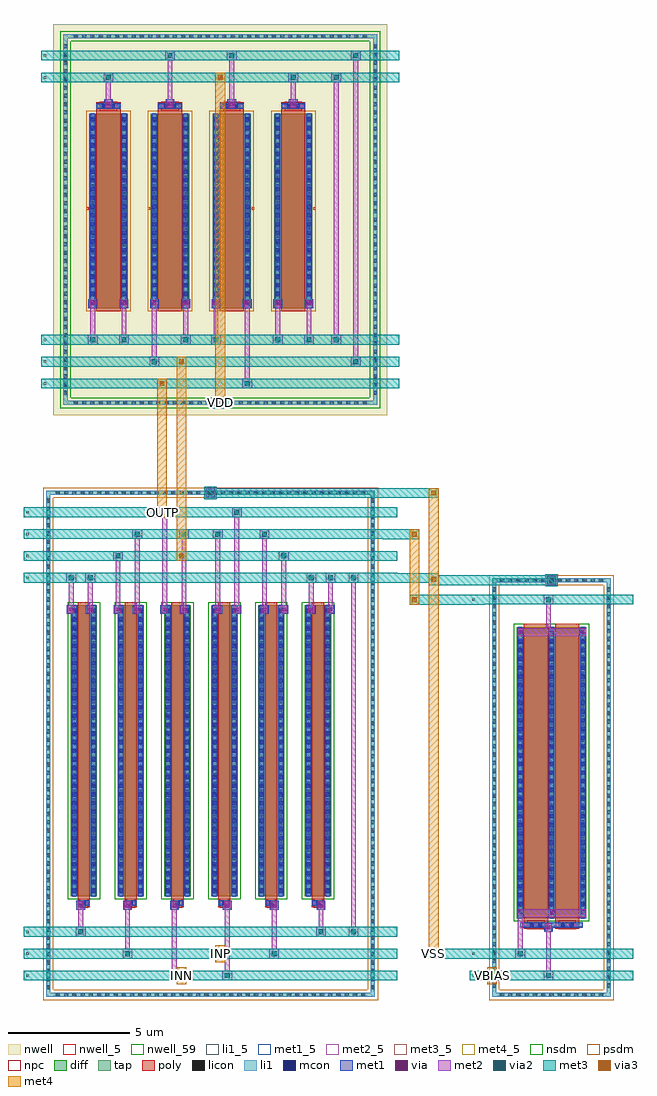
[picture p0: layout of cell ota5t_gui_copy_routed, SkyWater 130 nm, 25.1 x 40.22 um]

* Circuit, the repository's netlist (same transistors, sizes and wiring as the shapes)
* Extracted by KLayout with SKY130 LVS runset on : 04/11/2026 17:20

.SUBCKT ota5t_gui_copy_routed INN INP OUTP VBIAS VDD VSS sky130_gnd
M$1 VDD VDD VDD VDD sky130_fd_pr__pfet_01v8 L=1 W=8 AS=2.32 AD=2.32 PS=16.58
+ PD=16.58
M$2 VDD VDD VDD VDD sky130_fd_pr__pfet_01v8 L=1 W=8 AS=2.32 AD=2.32 PS=16.58
+ PD=16.58
M$3 OUTP \$5 VDD VDD sky130_fd_pr__pfet_01v8 L=1 W=8 AS=2.32 AD=2.32 PS=16.58
+ PD=16.58
M$4 \$5 \$5 VDD VDD sky130_fd_pr__pfet_01v8 L=1 W=8 AS=2.32 AD=2.32 PS=16.58
+ PD=16.58
M$5 OUTP INN \$9 sky130_gnd sky130_fd_pr__nfet_01v8 L=0.5 W=12 AS=3.48 AD=3.48
+ PS=24.58 PD=24.58
M$6 OUTP INN \$9 sky130_gnd sky130_fd_pr__nfet_01v8 L=0.5 W=12 AS=3.48 AD=3.48
+ PS=24.58 PD=24.58
M$7 \$5 INP \$9 sky130_gnd sky130_fd_pr__nfet_01v8 L=0.5 W=12 AS=3.48 AD=3.48
+ PS=24.58 PD=24.58
M$8 \$5 INP \$9 sky130_gnd sky130_fd_pr__nfet_01v8 L=0.5 W=12 AS=3.48 AD=3.48
+ PS=24.58 PD=24.58
M$9 VSS VSS VSS sky130_gnd sky130_fd_pr__nfet_01v8 L=0.5 W=12 AS=3.48 AD=3.48
+ PS=24.58 PD=24.58
M$10 VSS VSS VSS sky130_gnd sky130_fd_pr__nfet_01v8 L=0.5 W=12 AS=3.48 AD=3.48
+ PS=24.58 PD=24.58
M$11 \$9 VBIAS VSS sky130_gnd sky130_fd_pr__nfet_01v8 L=1 W=12 AS=3.48 AD=1.74
+ PS=24.58 PD=12.29
M$12 VSS VBIAS \$9 sky130_gnd sky130_fd_pr__nfet_01v8 L=1 W=12 AS=1.74 AD=3.48
+ PS=12.29 PD=24.58
.ENDS ota5t_gui_copy_routed

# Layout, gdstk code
from math import pi, radians
import gdstk
lib = gdstk.Library(unit=1e-6, precision=1e-09)
def R(c, l, rs):  # rectangles x0, y0, x1, y1
    for r in rs: c.add(gdstk.rectangle(r[:2], r[2:], *l))
def A(c, l, x, y, w, h, nx, ny, dx, dy):  # array of equal rectangles
    R(c, l, [(x+i*dx, y+j*dy, x+i*dx+w, y+j*dy+h) for i in range(nx) for j in range(ny)])
nwell_5 = (64, 5)
nwell = (64, 20)
nwell_59 = (64, 59)
diff = (65, 20)
tap = (65, 44)
poly = (66, 20)
licon = (66, 44)
li1_5 = (67, 5)
li1 = (67, 20)
mcon = (67, 44)
met1_5 = (68, 5)
met1 = (68, 20)
via = (68, 44)
met2_5 = (69, 5)
met2 = (69, 20)
via2 = (69, 44)
met3_5 = (70, 5)
met3 = (70, 20)
via3 = (70, 44)
met4_5 = (71, 5)
met4 = (71, 20)
nsdm = (93, 44)
psdm = (94, 20)
npc = (95, 20)

sky130_fd_pr__nfet_01v8_ = lib.new_cell('sky130_fd_pr__nfet_01v8_9RJRPW')
R(sky130_fd_pr__nfet_01v8_, diff, [(-1.435,-6.155,1.435,5.845)])
R(sky130_fd_pr__nfet_01v8_, poly, [(-1.145,-6.285,-0.145,6.285), (0.145,-6.285,1.145,6.285)])
A(sky130_fd_pr__nfet_01v8_, licon, -1.375, -6.02, 0.17, 0.17, 3, 35, 1.29, 0.34)
R(sky130_fd_pr__nfet_01v8_, licon, [(-0.9,6.035,-0.73,6.205), (-0.56,6.035,-0.39,6.205), (0.39,6.035,0.56,6.205), (0.73,6.035,0.9,6.205)])
A(sky130_fd_pr__nfet_01v8_, li1, -1.375, -6.175, 0.17, 12.04, 3, 1, 1.29, 0)
R(sky130_fd_pr__nfet_01v8_, li1, [(-1.29,6.035,1.29,6.205)])
A(sky130_fd_pr__nfet_01v8_, mcon, -1.375, -6, 0.17, 0.17, 3, 33, 1.29, 0.36)
R(sky130_fd_pr__nfet_01v8_, mcon, [(-0.91,6.035,-0.74,6.205), (-0.55,6.035,-0.38,6.205), (0.38,6.035,0.55,6.205), (0.74,6.035,0.91,6.205)])
A(sky130_fd_pr__nfet_01v8_, met1, -1.405, -6.155, 0.23, 12, 3, 1, 1.29, 0)
R(sky130_fd_pr__nfet_01v8_, met1, [(-1.125,6.005,-0.165,6.035), (0.165,6.005,1.125,6.035), (-1.29,6.035,1.29,6.205), (-1.125,6.205,-0.165,6.235), (0.165,6.205,1.125,6.235)])
R(sky130_fd_pr__nfet_01v8_, nsdm, [(-1.56,-6.28,1.56,5.97)])
R(sky130_fd_pr__nfet_01v8_, npc, [(-1,5.935,-0.29,6.305), (0.29,5.935,1,6.305)])
sky130_fd_pr__nfet_01v8_.add(gdstk.Label('D0', (-1.29,-0.155), layer=67, texttype=5))
sky130_fd_pr__nfet_01v8_.add(gdstk.Label('G', (0.645,6.12), layer=67, texttype=5))
sky130_fd_pr__nfet_01v8_.add(gdstk.Label('G', (-0.645,6.12), layer=67, texttype=5))
sky130_fd_pr__nfet_01v8_.add(gdstk.Label('S1', (0,-0.155), layer=67, texttype=5))

nfet_01v8_w24_l1_m1__nf2 = lib.new_cell('nfet_01v8_W24_L1_m1__nf2_gtop_sdfull_outD_ng')
R(nfet_01v8_w24_l1_m1__nf2, nwell_59, [(0.05,6.08,0.15,6.18)])
R(nfet_01v8_w24_l1_m1__nf2, met1_5, [(0.145,12.29,2.725,12.52)])
R(nfet_01v8_w24_l1_m1__nf2, met1, [(0.015,0.18,0.275,0.5), (2.595,0.18,2.855,0.5), (1.305,11.76,1.565,12.08), (0.145,12.29,2.725,12.52)])
R(nfet_01v8_w24_l1_m1__nf2, via, [(0.07,0.265,0.22,0.415), (2.65,0.265,2.8,0.415), (1.36,11.845,1.51,11.995)])
R(nfet_01v8_w24_l1_m1__nf2, met2_5, [(0.01,0.18,2.86,0.5), (0.01,11.76,2.86,12.08)])
R(nfet_01v8_w24_l1_m1__nf2, met2, [(0.01,0.18,2.86,0.5), (0.01,11.76,2.86,12.08)])
nfet_01v8_w24_l1_m1__nf2.add(gdstk.Reference(sky130_fd_pr__nfet_01v8_, (1.435,6.285)))
nfet_01v8_w24_l1_m1__nf2.add(gdstk.Label('S', (1.435,11.92), layer=69, texttype=5))
nfet_01v8_w24_l1_m1__nf2.add(gdstk.Label('D', (1.435,0.34), layer=69, texttype=5))
nfet_01v8_w24_l1_m1__nf2.add(gdstk.Label('G', (1.435,12.405), layer=68, texttype=5))
nfet_01v8_w24_l1_m1__nf2.add(gdstk.Label('B', (0.1,6.13), layer=64, texttype=59))

nmos_current_mirror_bias = lib.new_cell('nmos_current_mirror_bias__A')
R(nmos_current_mirror_bias, tap, [(-0.885,-1.885,4.005,-1.715), (-0.885,-1.715,-0.715,15.205), (3.835,-1.715,4.005,15.205), (-0.885,15.205,4.005,15.375)])
A(nmos_current_mirror_bias, licon, -0.565, -1.885, 0.17, 0.17, 13, 2, 0.34, 17.09)
A(nmos_current_mirror_bias, licon, -0.885, -1.5, 0.17, 0.17, 1, 49, 0, 0.34)
A(nmos_current_mirror_bias, licon, 3.835, -1.5, 0.17, 0.17, 1, 49, 0, 0.34)
R(nmos_current_mirror_bias, li1_5, [(1.51,-1.85,1.61,-1.75)])
R(nmos_current_mirror_bias, li1, [(-0.885,-1.885,4.005,-1.715), (-0.885,-1.715,-0.715,15.205), (3.835,-1.715,4.005,15.205), (-0.885,15.205,4.005,15.375)])
R(nmos_current_mirror_bias, met1, [(1.255,12.32,1.615,12.68)])
R(nmos_current_mirror_bias, via, [(1.36,12.425,1.51,12.575)])
R(nmos_current_mirror_bias, met2, [(1.235,-1.2,1.635,-0.8), (1.335,-0.8,1.535,0.28), (0.17,11.98,0.37,13.39), (1.305,12.34,1.565,12.66), (1.335,12.66,1.535,14.29), (0.07,13.39,0.47,13.79), (1.235,14.29,1.635,14.69)])
R(nmos_current_mirror_bias, via2, [(1.335,-1.1,1.535,-0.9), (0.17,13.49,0.37,13.69), (1.335,14.39,1.535,14.59)])
R(nmos_current_mirror_bias, met3_5, [(-1.7,-1.05,-1.6,-0.95), (-1.7,13.54,-1.6,13.64), (-1.7,14.44,-1.6,14.54)])
R(nmos_current_mirror_bias, met3, [(-1.8,-1.2,4.92,-0.8), (-1.8,13.39,4.92,13.79), (-1.8,14.29,4.92,14.69)])
R(nmos_current_mirror_bias, psdm, [(-1.01,-2.01,4.13,-1.59), (-1.01,-1.59,-0.59,15.08), (3.71,-1.59,4.13,15.08), (-1.01,15.08,4.13,15.5)])
nmos_current_mirror_bias.add(gdstk.Reference(nfet_01v8_w24_l1_m1__nf2, (0.13,0)))
nmos_current_mirror_bias.add(gdstk.Label('VSS', (-1.65,13.59), layer=70, texttype=5))
nmos_current_mirror_bias.add(gdstk.Label('net2', (-1.65,14.49), layer=70, texttype=5))
nmos_current_mirror_bias.add(gdstk.Label('net1', (-1.65,-1), layer=70, texttype=5))
nmos_current_mirror_bias.add(gdstk.Label('VSS_body', (1.56,-1.8), layer=67, texttype=5))

c_sky130_fd_pr__nfet_01v8_ = lib.new_cell('sky130_fd_pr__nfet_01v8_P7JZK5')
R(c_sky130_fd_pr__nfet_01v8_, diff, [(-0.54,-6.155,0.54,5.845)])
R(c_sky130_fd_pr__nfet_01v8_, poly, [(-0.25,-6.285,0.25,6.285)])
A(c_sky130_fd_pr__nfet_01v8_, licon, -0.48, -6.02, 0.17, 0.17, 1, 35, 0, 0.34)
A(c_sky130_fd_pr__nfet_01v8_, licon, 0.31, -6.02, 0.17, 0.17, 1, 35, 0, 0.34)
R(c_sky130_fd_pr__nfet_01v8_, licon, [(-0.085,6.035,0.085,6.205)])
R(c_sky130_fd_pr__nfet_01v8_, li1, [(-0.48,-6.175,-0.31,5.865), (0.31,-6.175,0.48,5.865), (-0.25,6.035,0.25,6.205)])
A(c_sky130_fd_pr__nfet_01v8_, mcon, -0.48, -6, 0.17, 0.17, 1, 33, 0, 0.36)
A(c_sky130_fd_pr__nfet_01v8_, mcon, 0.31, -6, 0.17, 0.17, 1, 33, 0, 0.36)
R(c_sky130_fd_pr__nfet_01v8_, mcon, [(-0.085,6.035,0.085,6.205)])
R(c_sky130_fd_pr__nfet_01v8_, met1, [(-0.51,-6.155,-0.28,5.845), (0.28,-6.155,0.51,5.845), (-0.23,6.005,0.23,6.235)])
R(c_sky130_fd_pr__nfet_01v8_, nsdm, [(-0.665,-6.28,0.665,5.97)])
R(c_sky130_fd_pr__nfet_01v8_, npc, [(-0.185,5.935,0.185,6.305)])
c_sky130_fd_pr__nfet_01v8_.add(gdstk.Label('D', (-0.395,-0.155), layer=67, texttype=5))
c_sky130_fd_pr__nfet_01v8_.add(gdstk.Label('S', (0.395,-0.155), layer=67, texttype=5))
c_sky130_fd_pr__nfet_01v8_.add(gdstk.Label('G', (0,6.12), layer=67, texttype=5))

nfet_01v8_w12_l0p5_m1__n = lib.new_cell('nfet_01v8_W12_L0p5_m1__nf1_gtop_sdfull_ng')
R(nfet_01v8_w12_l0p5_m1__n, nwell_59, [(0.05,6.08,0.15,6.18)])
R(nfet_01v8_w12_l0p5_m1__n, met1_5, [(0.03,6.13,0.26,6.33), (0.82,6.13,1.05,6.33), (0.31,12.29,0.77,12.52)])
R(nfet_01v8_w12_l0p5_m1__n, met1, [(0.03,6.13,0.26,6.33), (0.82,6.13,1.05,6.33), (0.31,12.29,0.77,12.52)])
nfet_01v8_w12_l0p5_m1__n.add(gdstk.Reference(c_sky130_fd_pr__nfet_01v8_, (0.54,6.285)))
nfet_01v8_w12_l0p5_m1__n.add(gdstk.Label('D', (0.145,6.23), layer=68, texttype=5))
nfet_01v8_w12_l0p5_m1__n.add(gdstk.Label('S', (0.935,6.23), layer=68, texttype=5))
nfet_01v8_w12_l0p5_m1__n.add(gdstk.Label('G', (0.54,12.405), layer=68, texttype=5))
nfet_01v8_w12_l0p5_m1__n.add(gdstk.Label('B', (0.1,6.13), layer=64, texttype=59))

nmos_differential_pair__ = lib.new_cell('nmos_differential_pair__ABBA')
R(nmos_differential_pair__, tap, [(-0.885,-4.585,12.665,-4.415), (-0.885,-4.415,-0.715,16.105), (12.495,-4.415,12.665,16.105), (-0.885,16.105,12.665,16.275)])
A(nmos_differential_pair__, licon, -0.485, -4.585, 0.17, 0.17, 38, 2, 0.34, 20.69)
A(nmos_differential_pair__, licon, -0.885, -4.27, 0.17, 0.17, 1, 60, 0, 0.34)
A(nmos_differential_pair__, licon, 12.495, -4.27, 0.17, 0.17, 1, 60, 0, 0.34)
R(nmos_differential_pair__, li1_5, [(5.84,-4.55,5.94,-4.45)])
R(nmos_differential_pair__, li1, [(-0.885,-4.585,12.665,-4.415), (-0.885,-4.415,-0.715,16.105), (12.495,-4.415,12.665,16.105), (-0.885,16.105,12.665,16.275)])
A(nmos_differential_pair__, met1, 0.36, 12.32, 0.36, 0.36, 3, 1, 1.93, 0)
A(nmos_differential_pair__, met1, 6.4, 12.32, 0.36, 0.36, 3, 1, 1.93, 0)
R(nmos_differential_pair__, met1, [(-0.035,0.13,0.325,0.49), (0.755,0.13,1.115,0.49), (1.895,0.13,2.255,0.49), (2.685,0.13,3.045,0.49), (3.825,0.13,4.185,0.49), (4.615,0.13,4.975,0.49), (6.005,0.13,6.365,0.49), (6.795,0.13,7.155,0.49), (7.935,0.13,8.295,0.49), (8.725,0.13,9.085,0.49), (9.865,0.13,10.225,0.49), (10.655,0.13,11.015,0.49)])
A(nmos_differential_pair__, via, 0.465, 12.425, 0.15, 0.15, 3, 1, 1.93, 0)
A(nmos_differential_pair__, via, 6.505, 12.425, 0.15, 0.15, 3, 1, 1.93, 0)
R(nmos_differential_pair__, via, [(0.07,0.235,0.22,0.385), (0.86,0.235,1.01,0.385), (2,0.235,2.15,0.385), (2.79,0.235,2.94,0.385), (3.93,0.235,4.08,0.385), (4.72,0.235,4.87,0.385), (6.11,0.235,6.26,0.385), (6.9,0.235,7.05,0.385), (8.04,0.235,8.19,0.385), (8.83,0.235,8.98,0.385), (9.97,0.235,10.12,0.385), (10.76,0.235,10.91,0.385)])
A(nmos_differential_pair__, met2, 0.41, 12.34, 0.26, 0.32, 3, 1, 1.93, 0)
A(nmos_differential_pair__, met2, 6.45, 12.34, 0.26, 0.32, 3, 1, 1.93, 0)
R(nmos_differential_pair__, met2, [(3.805,-3.9,4.205,-3.5), (6.775,-3.9,7.175,-3.5), (3.905,-3.5,4.105,0.15), (6.875,-3.5,7.075,0.15), (2.665,-3,3.065,-2.6), (4.595,-3,4.995,-2.6), (5.985,-3,6.385,-2.6), (7.915,-3,8.315,-2.6), (2.765,-2.6,2.965,0.15), (4.695,-2.6,4.895,0.15), (6.085,-2.6,6.285,0.15), (8.015,-2.6,8.215,0.15), (1.875,-2.1,2.275,-1.7), (8.705,-2.1,9.105,-1.7), (1.975,-1.7,2.175,0.15), (8.805,-1.7,9.005,0.15), (-0.055,-1.2,0.345,-0.8), (0.735,-1.2,1.135,-0.8), (9.845,-1.2,10.245,-0.8), (10.635,-1.2,11.035,-0.8), (11.58,-1.2,11.98,-0.8), (0.045,-0.8,0.245,0.15), (0.835,-0.8,1.035,0.15), (9.945,-0.8,10.145,0.15), (10.735,-0.8,10.935,0.15), (11.68,-0.8,11.88,13.39), (0.015,0.15,0.275,0.47), (0.805,0.15,1.065,0.47), (1.945,0.15,2.205,0.47), (2.735,0.15,2.995,0.47), (3.875,0.15,4.135,0.47), (4.665,0.15,4.925,0.47), (6.055,0.15,6.315,0.47), (6.845,0.15,7.105,0.47), (7.985,0.15,8.245,0.47), (8.775,0.15,9.035,0.47), (9.915,0.15,10.175,0.47), (10.705,0.15,10.965,0.47), (0.44,12.66,0.64,13.39), (2.37,12.66,2.57,14.29), (4.3,12.66,4.5,15.19), (6.48,12.66,6.68,15.19), (8.41,12.66,8.61,14.29), (10.34,12.66,10.54,13.39), (0.34,13.39,0.74,13.79), (10.24,13.39,10.64,13.79), (11.58,13.39,11.98,13.79), (2.27,14.29,2.67,14.69), (8.31,14.29,8.71,14.69), (4.2,15.19,4.6,15.59), (6.38,15.19,6.78,15.59)])
R(nmos_differential_pair__, via2, [(3.905,-3.8,4.105,-3.6), (6.875,-3.8,7.075,-3.6), (2.765,-2.9,2.965,-2.7), (4.695,-2.9,4.895,-2.7), (6.085,-2.9,6.285,-2.7), (8.015,-2.9,8.215,-2.7), (1.975,-2,2.175,-1.8), (8.805,-2,9.005,-1.8), (0.045,-1.1,0.245,-0.9), (0.835,-1.1,1.035,-0.9), (9.945,-1.1,10.145,-0.9), (10.735,-1.1,10.935,-0.9), (11.68,-1.1,11.88,-0.9), (0.44,13.49,0.64,13.69), (10.34,13.49,10.54,13.69), (11.68,13.49,11.88,13.69), (2.37,14.39,2.57,14.59), (8.41,14.39,8.61,14.59), (4.3,15.29,4.5,15.49), (6.48,15.29,6.68,15.49)])
A(nmos_differential_pair__, met3_5, -1.7, -3.75, 0.1, 0.1, 1, 4, 0, 0.9)
A(nmos_differential_pair__, met3_5, -1.7, 13.54, 0.1, 0.1, 1, 3, 0, 0.9)
A(nmos_differential_pair__, met3, -1.8, -3.9, 15.38, 0.4, 1, 4, 0, 0.9)
A(nmos_differential_pair__, met3, -1.8, 13.39, 15.38, 0.4, 1, 3, 0, 0.9)
R(nmos_differential_pair__, psdm, [(-1.01,-4.71,12.79,-4.29), (-1.01,-4.29,-0.59,15.98), (12.37,-4.29,12.79,15.98), (-1.01,15.98,12.79,16.4)])
nmos_differential_pair__.add(gdstk.Reference(nfet_01v8_w12_l0p5_m1__n, (0.13,0)))
nmos_differential_pair__.add(gdstk.Reference(nfet_01v8_w12_l0p5_m1__n, (2.06,0)))
nmos_differential_pair__.add(gdstk.Reference(nfet_01v8_w12_l0p5_m1__n, (3.99,0)))
nmos_differential_pair__.add(gdstk.Reference(nfet_01v8_w12_l0p5_m1__n, (7,0), rotation=pi, x_reflection=True))
nmos_differential_pair__.add(gdstk.Reference(nfet_01v8_w12_l0p5_m1__n, (8.93,0), rotation=pi, x_reflection=True))
nmos_differential_pair__.add(gdstk.Reference(nfet_01v8_w12_l0p5_m1__n, (10.86,0), rotation=pi, x_reflection=True))
nmos_differential_pair__.add(gdstk.Label('VSS', (-1.65,13.59), layer=70, texttype=5))
nmos_differential_pair__.add(gdstk.Label('INP', (-1.65,14.49), layer=70, texttype=5))
nmos_differential_pair__.add(gdstk.Label('INN', (-1.65,15.39), layer=70, texttype=5))
nmos_differential_pair__.add(gdstk.Label('VSS', (-1.65,-1), layer=70, texttype=5))
nmos_differential_pair__.add(gdstk.Label('net3', (-1.65,-1.9), layer=70, texttype=5))
nmos_differential_pair__.add(gdstk.Label('net1', (-1.65,-2.8), layer=70, texttype=5))
nmos_differential_pair__.add(gdstk.Label('OUTP', (-1.65,-3.7), layer=70, texttype=5))
nmos_differential_pair__.add(gdstk.Label('VSS_body', (5.89,-4.5), layer=67, texttype=5))

sky130_fd_pr__pfet_01v8_ = lib.new_cell('sky130_fd_pr__pfet_01v8_6DK835')
R(sky130_fd_pr__pfet_01v8_, nwell, [(-0.97,-4.49,0.97,4.32)])
R(sky130_fd_pr__pfet_01v8_, diff, [(-0.79,-4.18,0.79,3.82)])
R(sky130_fd_pr__pfet_01v8_, poly, [(-0.5,-4.31,0.5,4.305)])
A(sky130_fd_pr__pfet_01v8_, licon, -0.73, -4.005, 0.17, 0.17, 1, 23, 0, 0.34)
A(sky130_fd_pr__pfet_01v8_, licon, 0.56, -4.005, 0.17, 0.17, 1, 23, 0, 0.34)
R(sky130_fd_pr__pfet_01v8_, licon, [(-0.255,4.055,-0.085,4.225), (0.085,4.055,0.255,4.225)])
R(sky130_fd_pr__pfet_01v8_, li1, [(-0.73,-4.2,-0.56,3.84), (0.56,-4.2,0.73,3.84), (-0.5,4.055,0.5,4.225)])
A(sky130_fd_pr__pfet_01v8_, mcon, -0.73, -4.045, 0.17, 0.17, 1, 22, 0, 0.36)
A(sky130_fd_pr__pfet_01v8_, mcon, 0.56, -4.045, 0.17, 0.17, 1, 22, 0, 0.36)
R(sky130_fd_pr__pfet_01v8_, mcon, [(-0.265,4.055,-0.095,4.225), (0.095,4.055,0.265,4.225)])
R(sky130_fd_pr__pfet_01v8_, met1, [(-0.76,-4.18,-0.53,3.82), (0.53,-4.18,0.76,3.82), (-0.48,4.025,0.48,4.255)])
R(sky130_fd_pr__pfet_01v8_, psdm, [(-0.915,-4.305,0.915,3.945)])
R(sky130_fd_pr__pfet_01v8_, npc, [(-0.355,3.955,0.355,4.325)])
sky130_fd_pr__pfet_01v8_.add(gdstk.Label('D', (-0.645,-0.18), layer=67, texttype=5))
sky130_fd_pr__pfet_01v8_.add(gdstk.Label('S', (0.645,-0.18), layer=67, texttype=5))
sky130_fd_pr__pfet_01v8_.add(gdstk.Label('G', (0,4.14), layer=67, texttype=5))

pfet_01v8_w8_l1_m1__nf1_ = lib.new_cell('pfet_01v8_W8_L1_m1__nf1_gtop_sdfull_ng')
R(pfet_01v8_w8_l1_m1__nf1_, nwell_5, [(0.05,4.355,0.15,4.455)])
R(pfet_01v8_w8_l1_m1__nf1_, nwell, [(0.05,4.355,0.15,4.455)])
R(pfet_01v8_w8_l1_m1__nf1_, met1_5, [(0.21,4.31,0.44,4.51), (1.5,4.31,1.73,4.51), (0.49,8.515,1.45,8.745)])
R(pfet_01v8_w8_l1_m1__nf1_, met1, [(0.21,4.31,0.44,4.51), (1.5,4.31,1.73,4.51), (0.49,8.515,1.45,8.745)])
pfet_01v8_w8_l1_m1__nf1_.add(gdstk.Reference(sky130_fd_pr__pfet_01v8_, (0.97,4.49)))
pfet_01v8_w8_l1_m1__nf1_.add(gdstk.Label('D', (0.325,4.41), layer=68, texttype=5))
pfet_01v8_w8_l1_m1__nf1_.add(gdstk.Label('S', (1.615,4.41), layer=68, texttype=5))
pfet_01v8_w8_l1_m1__nf1_.add(gdstk.Label('G', (0.97,8.63), layer=68, texttype=5))
pfet_01v8_w8_l1_m1__nf1_.add(gdstk.Label('B', (0.1,4.405), layer=64, texttype=5))

pmos_current_mirror_load = lib.new_cell('pmos_current_mirror_load__AB')
R(pmos_current_mirror_load, nwell, [(-1.3,-4.1,12.46,12.015)])
R(pmos_current_mirror_load, tap, [(-0.885,-3.685,12.045,-3.515), (-0.885,-3.515,-0.715,11.43), (11.875,-3.515,12.045,11.43), (-0.885,11.43,12.045,11.6)])
A(pmos_current_mirror_load, licon, -0.455, -3.685, 0.17, 0.17, 36, 2, 0.34, 15.115)
A(pmos_current_mirror_load, licon, -0.885, -3.27, 0.17, 0.17, 1, 43, 0, 0.34)
A(pmos_current_mirror_load, licon, 11.875, -3.27, 0.17, 0.17, 1, 43, 0, 0.34)
R(pmos_current_mirror_load, li1_5, [(5.53,-3.65,5.63,-3.55)])
R(pmos_current_mirror_load, li1, [(-0.885,-3.685,12.045,-3.515), (-0.885,-3.515,-0.715,11.43), (11.875,-3.515,12.045,11.43), (-0.885,11.43,12.045,11.6)])
A(pmos_current_mirror_load, met1, 0.79, 8.545, 0.36, 0.36, 4, 1, 2.54, 0)
R(pmos_current_mirror_load, met1, [(0.145,0.31,0.505,0.67), (1.435,0.31,1.795,0.67), (2.685,0.31,3.045,0.67), (3.975,0.31,4.335,0.67), (5.225,0.31,5.585,0.67), (6.515,0.31,6.875,0.67), (7.765,0.31,8.125,0.67), (9.055,0.31,9.415,0.67)])
A(pmos_current_mirror_load, via, 0.895, 8.65, 0.15, 0.15, 4, 1, 2.54, 0)
R(pmos_current_mirror_load, via, [(0.25,0.415,0.4,0.565), (1.54,0.415,1.69,0.565), (2.79,0.415,2.94,0.565), (4.08,0.415,4.23,0.565), (5.33,0.415,5.48,0.565), (6.62,0.415,6.77,0.565), (7.87,0.415,8.02,0.565), (9.16,0.415,9.31,0.565)])
A(pmos_current_mirror_load, met2, 0.84, 8.565, 0.26, 0.32, 4, 1, 2.54, 0)
R(pmos_current_mirror_load, met2, [(6.495,-3,6.895,-2.6), (6.595,-2.6,6.795,0.33), (2.665,-2.1,3.065,-1.7), (10.96,-2.1,11.36,-1.7), (2.765,-1.7,2.965,0.33), (11.06,-1.7,11.26,10.515), (0.125,-1.2,0.525,-0.8), (1.415,-1.2,1.815,-0.8), (3.955,-1.2,4.355,-0.8), (5.205,-1.2,5.605,-0.8), (7.745,-1.2,8.145,-0.8), (9.035,-1.2,9.435,-0.8), (10.16,-1.2,10.56,-0.8), (0.225,-0.8,0.425,0.33), (1.515,-0.8,1.715,0.33), (4.055,-0.8,4.255,0.33), (5.305,-0.8,5.505,0.33), (7.845,-0.8,8.045,0.33), (9.135,-0.8,9.335,0.33), (10.26,-0.8,10.46,9.615), (0.195,0.33,0.455,0.65), (1.485,0.33,1.745,0.65), (2.735,0.33,2.995,0.65), (4.025,0.33,4.285,0.65), (5.275,0.33,5.535,0.65), (6.565,0.33,6.825,0.65), (7.815,0.33,8.075,0.65), (9.105,0.33,9.365,0.65), (0.87,8.885,1.07,9.615), (3.41,8.885,3.61,10.515), (5.95,8.885,6.15,10.515), (8.49,8.885,8.69,9.615), (0.77,9.615,1.17,10.015), (8.39,9.615,8.79,10.015), (10.16,9.615,10.56,10.015), (3.31,10.515,3.71,10.915), (5.85,10.515,6.25,10.915), (10.96,10.515,11.36,10.915)])
R(pmos_current_mirror_load, via2, [(6.595,-2.9,6.795,-2.7), (2.765,-2,2.965,-1.8), (11.06,-2,11.26,-1.8), (0.225,-1.1,0.425,-0.9), (1.515,-1.1,1.715,-0.9), (4.055,-1.1,4.255,-0.9), (5.305,-1.1,5.505,-0.9), (7.845,-1.1,8.045,-0.9), (9.135,-1.1,9.335,-0.9), (10.26,-1.1,10.46,-0.9), (0.87,9.715,1.07,9.915), (8.49,9.715,8.69,9.915), (10.26,9.715,10.46,9.915), (3.41,10.615,3.61,10.815), (5.95,10.615,6.15,10.815), (11.06,10.615,11.26,10.815)])
A(pmos_current_mirror_load, met3_5, -1.7, -2.85, 0.1, 0.1, 1, 3, 0, 0.9)
R(pmos_current_mirror_load, met3_5, [(-1.7,9.765,-1.6,9.865), (-1.7,10.665,-1.6,10.765)])
A(pmos_current_mirror_load, met3, -1.8, -3, 14.76, 0.4, 1, 3, 0, 0.9)
R(pmos_current_mirror_load, met3, [(-1.8,9.615,12.96,10.015), (-1.8,10.515,12.96,10.915)])
R(pmos_current_mirror_load, nsdm, [(-1.01,-3.81,12.17,-3.39), (-1.01,-3.39,-0.59,11.305), (11.75,-3.39,12.17,11.305), (-1.01,11.305,12.17,11.725)])
pmos_current_mirror_load.add(gdstk.Reference(pfet_01v8_w8_l1_m1__nf1_, (0,0)))
pmos_current_mirror_load.add(gdstk.Reference(pfet_01v8_w8_l1_m1__nf1_, (2.54,0)))
pmos_current_mirror_load.add(gdstk.Reference(pfet_01v8_w8_l1_m1__nf1_, (7.02,0), rotation=pi, x_reflection=True))
pmos_current_mirror_load.add(gdstk.Reference(pfet_01v8_w8_l1_m1__nf1_, (9.56,0), rotation=pi, x_reflection=True))
pmos_current_mirror_load.add(gdstk.Label('VDD', (-1.65,9.815), layer=70, texttype=5))
pmos_current_mirror_load.add(gdstk.Label('net3', (-1.65,10.715), layer=70, texttype=5))
pmos_current_mirror_load.add(gdstk.Label('VDD', (-1.65,-1), layer=70, texttype=5))
pmos_current_mirror_load.add(gdstk.Label('net3', (-1.65,-1.9), layer=70, texttype=5))
pmos_current_mirror_load.add(gdstk.Label('OUTP', (-1.65,-2.8), layer=70, texttype=5))
pmos_current_mirror_load.add(gdstk.Label('VDD_body', (5.58,-3.6), layer=67, texttype=5))

ota5t_gui_copy_routed = lib.new_cell('ota5t_gui_copy_routed')
R(ota5t_gui_copy_routed, li1, [(14.2,-23.175,14.7,-22.675), (0.15,-19.575,0.65,-19.075), (0.55,-15.865,1.05,-15.365)])
R(ota5t_gui_copy_routed, mcon, [(14.365,-23.01,14.535,-22.84), (0.315,-19.41,0.485,-19.24), (0.715,-15.7,0.885,-15.53)])
R(ota5t_gui_copy_routed, met1, [(14.28,-23.095,14.62,-22.755), (0.23,-19.495,0.57,-19.155), (0.63,-15.785,0.97,-15.445)])
R(ota5t_gui_copy_routed, via, [(14.375,-23,14.525,-22.85), (0.325,-19.4,0.475,-19.25), (0.725,-15.69,0.875,-15.54)])
R(ota5t_gui_copy_routed, met2, [(14.25,-23.125,14.65,-22.725), (0.2,-19.525,0.6,-19.125), (0.6,-15.815,1,-15.415)])
R(ota5t_gui_copy_routed, via2, [(14.35,-23.025,14.55,-22.825), (0.3,-19.425,0.5,-19.225), (0.7,-15.715,0.9,-15.515)])
R(ota5t_gui_copy_routed, met3, [(-1,-39.415,-0.6,-39.015), (11.8,-39.415,12.2,-39.015), (0.6,-38.515,1,-38.115), (9.4,-38.515,11.69,-38.115), (8.6,-23.925,11.69,-23.525), (14.2,-23.175,14.7,-23.125), (9.4,-23.125,14.7,-23.025), (7.49,-23.025,14.7,-22.725), (7.49,-22.725,9.8,-22.625), (14.2,-22.725,14.7,-22.675), (-1,-22.125,-0.6,-21.725), (7.49,-21.225,9,-20.825), (-1.8,-20.325,-1.4,-19.925), (0.15,-19.575,0.65,-19.525), (0.15,-19.525,9.8,-19.125), (0.15,-19.125,0.65,-19.075), (0.55,-15.865,1.05,-15.365), (-1.8,-15.015,-1.4,-14.615), (-1,-14.115,-0.6,-13.715), (0.6,-2.4,1,-2)])
R(ota5t_gui_copy_routed, via3, [(-0.9,-39.315,-0.7,-39.115), (11.9,-39.315,12.1,-39.115), (0.7,-38.415,0.9,-38.215), (9.5,-38.415,9.7,-38.215), (8.7,-23.825,8.9,-23.625), (9.5,-22.975,9.7,-22.775), (-0.9,-22.025,-0.7,-21.825), (8.7,-21.125,8.9,-20.925), (-1.7,-20.225,-1.5,-20.025), (9.5,-19.425,9.7,-19.225), (0.7,-15.715,0.9,-15.515), (-1.7,-14.915,-1.5,-14.715), (-0.9,-14.015,-0.7,-13.815), (0.7,-2.3,0.9,-2.1)])
R(ota5t_gui_copy_routed, met4_5, [(-0.85,-39.265,-0.75,-39.165), (11.95,-39.265,12.05,-39.165), (0.75,-38.365,0.85,-38.265), (9.55,-38.365,9.65,-38.265), (-1.65,-20.175,-1.55,-20.075), (0.75,-15.665,0.85,-15.565)])
R(ota5t_gui_copy_routed, met4, [(-1,-39.565,-0.6,-38.865), (11.8,-39.565,12.2,-38.865), (0.6,-38.665,1,-37.965), (9.4,-38.515,9.8,-19.125), (8.6,-23.925,9,-20.825), (-1,-22.125,-0.6,-13.715), (-1.8,-20.325,-1.4,-14.615), (0.6,-15.815,1,-2)])
ota5t_gui_copy_routed.add(gdstk.Reference(nmos_current_mirror_bias, (12.89,-24.72), x_reflection=True))
ota5t_gui_copy_routed.add(gdstk.Reference(nmos_differential_pair__, (-5.49,-23.82), x_reflection=True))
ota5t_gui_copy_routed.add(gdstk.Reference(pmos_current_mirror_load, (-4.78,-12.015)))
ota5t_gui_copy_routed.add(gdstk.Label('OUTP', (-1.6,-20.125), layer=71, texttype=5))
ota5t_gui_copy_routed.add(gdstk.Label('INN', (-0.8,-39.215), layer=71, texttype=5))
ota5t_gui_copy_routed.add(gdstk.Label('INP', (0.8,-38.315), layer=71, texttype=5))
ota5t_gui_copy_routed.add(gdstk.Label('VBIAS', (12,-39.215), layer=71, texttype=5))
ota5t_gui_copy_routed.add(gdstk.Label('VDD', (0.8,-15.615), layer=71, texttype=5))
ota5t_gui_copy_routed.add(gdstk.Label('VSS', (9.6,-38.315), layer=71, texttype=5))

lib.write_gds('ota5t_gui_copy_routed.gds')
